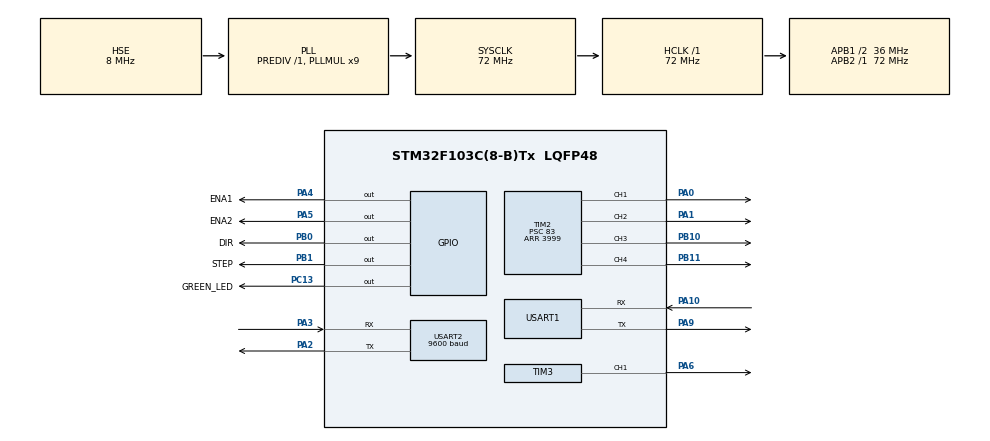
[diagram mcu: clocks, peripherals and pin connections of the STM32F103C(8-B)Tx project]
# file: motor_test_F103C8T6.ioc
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FREERTOS.Tasks01=defaultTask,0,128,StartDefaultTask,Default,NULL,Dynamic,NULL,NULL
FREERTOS.configUSE_NEWLIB_REENTRANT=1
Mcu.Family=STM32F1
Mcu.Name=STM32F103C(8-B)Tx
Mcu.Package=LQFP48
NVIC.PriorityGroup=NVIC_PRIORITYGROUP_4
NVIC.TIM1_UP_IRQn=true\:15\:0\:false\:false\:true\:false\:false\:true\:true
NVIC.TimeBase=TIM1_UP_IRQn
NVIC.TimeBaseIP=TIM1
NVIC.USART2_IRQn=true\:6\:0\:true\:false\:true\:true\:true\:true\:true
PA0-WKUP.Signal=S_TIM2_CH1_ETR
PA1.Signal=S_TIM2_CH2
PA10.Mode=Asynchronous
PA10.Signal=USART1_RX
PA13.Mode=Serial_Wire
PA13.Signal=SYS_JTMS-SWDIO
PA14.Mode=Serial_Wire
PA14.Signal=SYS_JTCK-SWCLK
PA2.Mode=Asynchronous
PA2.Signal=USART2_TX
PA3.Mode=Asynchronous
PA3.Signal=USART2_RX
PA4.GPIO_Label=ENA1
PA4.Signal=GPIO_Output
PA5.GPIO_Label=ENA2
PA5.Signal=GPIO_Output
PA6.Signal=S_TIM3_CH1
PA9.Mode=Asynchronous
PA9.Signal=USART1_TX
PB0.GPIO_Label=DIR
PB0.Signal=GPIO_Output
PB1.GPIO_Label=STEP
PB1.Signal=GPIO_Output
PB10.Signal=S_TIM2_CH3
PB11.Signal=S_TIM2_CH4
PC13-TAMPER-RTC.GPIO_Label=GREEN_LED
PC13-TAMPER-RTC.Signal=GPIO_Output
PD0-OSC_IN.Mode=HSE-External-Oscillator
PD0-OSC_IN.Signal=RCC_OSC_IN
PD1-OSC_OUT.Mode=HSE-External-Oscillator
PD1-OSC_OUT.Signal=RCC_OSC_OUT
ProjectManager.HeapSize=0x200
ProjectManager.StackSize=0x400
ProjectManager.TargetToolchain=STM32CubeIDE
RCC.AHBFreq_Value=72000000
RCC.APB1CLKDivider=RCC_HCLK_DIV2
RCC.APB1Freq_Value=36000000
RCC.APB1TimFreq_Value=72000000
RCC.APB2Freq_Value=72000000
RCC.APB2TimFreq_Value=72000000
RCC.HCLKFreq_Value=72000000
RCC.PLLMUL=RCC_PLL_MUL9
RCC.PLLSourceVirtual=RCC_PLLSOURCE_HSE
RCC.SYSCLKFreq_VALUE=72000000
RCC.SYSCLKSource=RCC_SYSCLKSOURCE_PLLCLK
RCC.USBFreq_Value=72000000
SH.S_TIM2_CH1_ETR.0=TIM2_CH1,PWM Generation1 CH1
SH.S_TIM2_CH2.0=TIM2_CH2,PWM Generation2 CH2
SH.S_TIM2_CH3.0=TIM2_CH3,PWM Generation3 CH3
SH.S_TIM2_CH4.0=TIM2_CH4,PWM Generation4 CH4
SH.S_TIM3_CH1.0=TIM3_CH1,PWM Generation1 CH1
TIM2.Channel-PWM\ Generation1\ CH1=TIM_CHANNEL_1
TIM2.Channel-PWM\ Generation2\ CH2=TIM_CHANNEL_2
TIM2.Channel-PWM\ Generation3\ CH3=TIM_CHANNEL_3
TIM2.Channel-PWM\ Generation4\ CH4=TIM_CHANNEL_4
TIM2.Period=3999
TIM2.Prescaler=83
TIM3.Channel-PWM\ Generation1\ CH1=TIM_CHANNEL_1
TIM3.Period=9999
TIM3.Prescaler=143
TIM4.Prescaler=71
USART1.VirtualMode=VM_ASYNC
USART2.BaudRate=9600
USART2.VirtualMode=VM_ASYNC
VP_FREERTOS_VS_CMSIS_V1.Mode=CMSIS_V1
VP_SYS_VS_tim1.Mode=TIM1
VP_TIM2_VS_ClockSourceINT.Mode=Internal
VP_TIM3_VS_ClockSourceINT.Mode=Internal
VP_TIM4_VS_ClockSourceINT.Mode=Internal
board=custom

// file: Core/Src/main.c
/* USER CODE BEGIN Header */
/**
  ******************************************************************************
  * @file           : main.c
  * @brief          : Main program body
  ******************************************************************************
  * @attention
  *
  * Copyright (c) 2023 STMicroelectronics.
  * All rights reserved.
  *
  * This software is licensed under terms that can be found in the LICENSE file
  * in the root directory of this software component.
  * If no LICENSE file comes with this software, it is provided AS-IS.
  *
  ******************************************************************************
  */
/* USER CODE END Header */
#include "main.h"

/* USER CODE BEGIN Includes */
#include <stdio.h>
#include <string.h>
#include "FreeRTOS.h"
/* USER CODE END Includes */

TIM_HandleTypeDef htim2;
TIM_HandleTypeDef htim3;
TIM_HandleTypeDef htim4;

UART_HandleTypeDef huart1;
UART_HandleTypeDef huart2;

/* USER CODE BEGIN PV */
char message[50];
uint8_t rxData = 0;
int dc_pulse = 0;
int servo_pulse = 0;
int pulse = 0;
int stepDelay = 1000;
/* USER CODE END PV */

void SystemClock_Config(void);
static void MX_GPIO_Init(void);
static void MX_TIM2_Init(void);
static void MX_TIM3_Init(void);
static void MX_USART1_UART_Init(void);
static void MX_USART2_UART_Init(void);
static void MX_TIM4_Init(void);
void StartDefaultTask(void const * argument);

/* USER CODE BEGIN 0 */
void LED_Task(void* pvParameter);
void Motion_Task(void* pvParameter);
void Platform_Rotation_Task(void* pvParameter);
void Trigger_Task(void* pvParameter);

void microDelay(uint16_t delay){
	__HAL_TIM_SET_COUNTER(&htim4, 0);
	while(__HAL_TIM_GET_COUNTER(&htim4) < delay);
}

void step(int steps, uint8_t direction, uint16_t delay){
	int x;
	if(direction == 0){
		HAL_GPIO_WritePin(DIR_GPIO_Port, DIR_Pin, GPIO_PIN_SET);
	}else
		HAL_GPIO_WritePin(DIR_GPIO_Port, DIR_Pin, GPIO_PIN_RESET);
	for(int i = 0;i < steps; i++){
		HAL_GPIO_WritePin(STEP_GPIO_Port, STEP_Pin, GPIO_PIN_SET);
		microDelay(delay);
		HAL_GPIO_WritePin(STEP_GPIO_Port, STEP_Pin, GPIO_PIN_RESET);
		microDelay(delay);
	}
}

void HAL_UART_RxCpltCallback(UART_HandleTypeDef *huart){
	if(huart->Instance == USART2){
		rxData = huart->Instance->DR;

		HAL_UART_Receive_IT(huart, &rxData, 1);
		sprintf((uint8_t*)message, "UART2 Interrupt\r\n", rxData);
		HAL_UART_Transmit(&huart1, (uint8_t*)message, strlen(message), 0xffff);
		memset(message, 0, sizeof(message));
	}
}

void LED_Task(void* pvParameter){
	while(1){
		HAL_GPIO_WritePin(GREEN_LED_GPIO_Port, GREEN_LED_Pin, GPIO_PIN_RESET);
		vTaskDelay(1000);
		HAL_GPIO_WritePin(GREEN_LED_GPIO_Port, GREEN_LED_Pin, GPIO_PIN_SET);
		vTaskDelay(1000);
	}
}

void Motion_Task(void* pvParameter){
	char* motion_message = pvPortMalloc(50*sizeof(char));
	sprintf((char*)motion_message,"Motion_Task initialize ..\r\n");
	HAL_UART_Transmit(&huart1, (uint8_t*)motion_message, strlen(motion_message), 0xffff);
	vPortFree(motion_message);
	while(1){
		if(rxData == 'U'){
			HAL_GPIO_WritePin(GREEN_LED_GPIO_Port, GREEN_LED_Pin, GPIO_PIN_RESET);
			motion_message = pvPortMalloc(50*sizeof(char));
			sprintf((char*)motion_message, "Word(%c): Up !\r\n", rxData);
			HAL_UART_Transmit(&huart1, (uint8_t*)motion_message, strlen(motion_message), 0xffff);
			vPortFree(motion_message);

			HAL_GPIO_WritePin(ENA1_GPIO_Port, ENA1_Pin, GPIO_PIN_SET);
			HAL_GPIO_WritePin(ENA2_GPIO_Port, ENA2_Pin, GPIO_PIN_SET);

			__HAL_TIM_SET_COMPARE(&htim2, TIM_CHANNEL_1, pulse);
			__HAL_TIM_SET_COMPARE(&htim2, TIM_CHANNEL_2, 0);

			__HAL_TIM_SET_COMPARE(&htim2, TIM_CHANNEL_3, pulse);
			__HAL_TIM_SET_COMPARE(&htim2, TIM_CHANNEL_4, 0);

			rxData = 0;
		}
		else if(rxData == 'D'){
			HAL_GPIO_WritePin(GREEN_LED_GPIO_Port, GREEN_LED_Pin, GPIO_PIN_RESET);
			motion_message = pvPortMalloc(50*sizeof(char));
			sprintf((char*)motion_message, "Word(%c): Down !\r\n", rxData);
			HAL_UART_Transmit(&huart1, (uint8_t*)motion_message, strlen(motion_message), 0xffff);
			vPortFree(motion_message);

			HAL_GPIO_WritePin(ENA1_GPIO_Port, ENA1_Pin, GPIO_PIN_SET);
			HAL_GPIO_WritePin(ENA2_GPIO_Port, ENA2_Pin, GPIO_PIN_SET);

			__HAL_TIM_SET_COMPARE(&htim2, TIM_CHANNEL_1, 0);
			__HAL_TIM_SET_COMPARE(&htim2, TIM_CHANNEL_2, pulse);

			__HAL_TIM_SET_COMPARE(&htim2, TIM_CHANNEL_3, 0);
			__HAL_TIM_SET_COMPARE(&htim2, TIM_CHANNEL_4, pulse);

			rxData = 0;
		}
		else if(rxData == 'L'){
			HAL_GPIO_WritePin(GREEN_LED_GPIO_Port, GREEN_LED_Pin, GPIO_PIN_RESET);
			motion_message = pvPortMalloc(50*sizeof(char));
			sprintf((char*)motion_message, "Word(%c): Left !\r\n", rxData);
			HAL_UART_Transmit(&huart1, (uint8_t*)motion_message, strlen(motion_message), 0xffff);
			vPortFree(motion_message);

			HAL_GPIO_WritePin(ENA1_GPIO_Port, ENA1_Pin, GPIO_PIN_SET);
			HAL_GPIO_WritePin(ENA2_GPIO_Port, ENA2_Pin, GPIO_PIN_SET);

			__HAL_TIM_SET_COMPARE(&htim2, TIM_CHANNEL_1, pulse);
			__HAL_TIM_SET_COMPARE(&htim2, TIM_CHANNEL_2, 0);

			__HAL_TIM_SET_COMPARE(&htim2, TIM_CHANNEL_3, 0);
			__HAL_TIM_SET_COMPARE(&htim2, TIM_CHANNEL_4, pulse);

			rxData = 0;
		}
		else if(rxData == 'R'){
			HAL_GPIO_WritePin(GREEN_LED_GPIO_Port, GREEN_LED_Pin, GPIO_PIN_RESET);
			motion_message = pvPortMalloc(50*sizeof(char));
			sprintf((char*)motion_message, "Word(%c): Right !\r\n", rxData);
			HAL_UART_Transmit(&huart1, (uint8_t*)motion_message, strlen(motion_message), 0xffff);
			vPortFree(motion_message);

			HAL_GPIO_WritePin(ENA1_GPIO_Port, ENA1_Pin, GPIO_PIN_SET);
			HAL_GPIO_WritePin(ENA2_GPIO_Port, ENA2_Pin, GPIO_PIN_SET);

			__HAL_TIM_SET_COMPARE(&htim2, TIM_CHANNEL_1, 0);
			__HAL_TIM_SET_COMPARE(&htim2, TIM_CHANNEL_2, pulse);

			__HAL_TIM_SET_COMPARE(&htim2, TIM_CHANNEL_3, pulse);
			__HAL_TIM_SET_COMPARE(&htim2, TIM_CHANNEL_4, 0);

			rxData = 0;
		}
		else if(rxData == 'A'){
			HAL_GPIO_WritePin(GREEN_LED_GPIO_Port, GREEN_LED_Pin, GPIO_PIN_RESET);
			motion_message = pvPortMalloc(50*sizeof(char));
			sprintf((char*)motion_message, "Word(%c): High speed !\r\n", rxData);
			HAL_UART_Transmit(&huart1, (uint8_t*)motion_message, strlen(motion_message), 0xffff);
			vPortFree(motion_message);

			pulse = 3200;

			rxData = 0;
		}
		else if(rxData == 'Z'){
			HAL_GPIO_WritePin(GREEN_LED_GPIO_Port, GREEN_LED_Pin, GPIO_PIN_RESET);
			motion_message = pvPortMalloc(50*sizeof(char));
			sprintf((char*)motion_message, "Word(%c): Low speed !\r\n", rxData);
			HAL_UART_Transmit(&huart1, (uint8_t*)motion_message, strlen(motion_message), 0xffff);
			vPortFree(motion_message);

			pulse = 1500;

			rxData = 0;
		}
		else if(rxData == '0'){
			HAL_GPIO_WritePin(GREEN_LED_GPIO_Port, GREEN_LED_Pin, GPIO_PIN_RESET);
			motion_message = pvPortMalloc(50*sizeof(char));
			sprintf((char*)motion_message, "Word(%c): 0 !\r\n", rxData);
			HAL_UART_Transmit(&huart1, (uint8_t*)motion_message, strlen(motion_message), 0xffff);
			vPortFree(motion_message);

			HAL_GPIO_WritePin(ENA1_GPIO_Port, ENA1_Pin, GPIO_PIN_RESET);
			HAL_GPIO_WritePin(ENA2_GPIO_Port, ENA2_Pin, GPIO_PIN_RESET);

			__HAL_TIM_SET_COMPARE(&htim2, TIM_CHANNEL_1, 0);
			__HAL_TIM_SET_COMPARE(&htim2, TIM_CHANNEL_2, 0);

			__HAL_TIM_SET_COMPARE(&htim2, TIM_CHANNEL_3, 0);
			__HAL_TIM_SET_COMPARE(&htim2, TIM_CHANNEL_4, 0);

			rxData = 0;
		}
		else if(rxData == 'o'){
			HAL_GPIO_WritePin(GREEN_LED_GPIO_Port, GREEN_LED_Pin, GPIO_PIN_RESET);
			motion_message = pvPortMalloc(50*sizeof(char));
			sprintf((char*)motion_message, "Word(%c): o !\r\n", rxData);
			HAL_UART_Transmit(&huart1, (uint8_t*)motion_message, strlen(motion_message), 0xffff);
			vPortFree(motion_message);
			rxData = 0;
		}
		HAL_UART_Receive_IT(&huart2, &rxData, 1);
		vTaskDelay(100);
		HAL_GPIO_WritePin(GREEN_LED_GPIO_Port, GREEN_LED_Pin, GPIO_PIN_SET);
	}

}

void Platform_Rotation_Task(void* pvParameter){
	char* stepper_message = pvPortMalloc(50*sizeof(char));
	sprintf((char*)stepper_message, "Platform_Rotation_Task initialize ..\r\n");
	HAL_UART_Transmit(&huart1, (uint8_t*)stepper_message, strlen(stepper_message), 0xffff);
	vPortFree(stepper_message);
	while(1){
		if(rxData == 'T'){
			HAL_GPIO_WritePin(GREEN_LED_GPIO_Port, GREEN_LED_Pin, GPIO_PIN_RESET);
			stepper_message = pvPortMalloc(50*sizeof(char));
			sprintf((char*)stepper_message, "Word(%c): Stepper Clockwise !\r\n", rxData);
			HAL_UART_Transmit(&huart1, (uint8_t*)stepper_message, strlen(stepper_message), 0xffff);
			vPortFree(stepper_message);
			step(200, 0, 500);

			rxData = 0;
		}
		else if(rxData == 'X'){
			HAL_GPIO_WritePin(GREEN_LED_GPIO_Port, GREEN_LED_Pin, GPIO_PIN_RESET);
			stepper_message = pvPortMalloc(50*sizeof(char));
			sprintf((char*)stepper_message, "Word(%c): Stepper Counterclockwise !\r\n", rxData);
			HAL_UART_Transmit(&huart1, (uint8_t*)stepper_message, strlen(stepper_message), 0xffff);
			vPortFree(stepper_message);
			step(200, 1, 500);

			rxData = 0;
		}
		HAL_UART_Receive_IT(&huart2, &rxData, 1);
		vTaskDelay(100);
	}
}

void Trigger_Task(void* pvParameter){
	char* servo_message = pvPortMalloc(50*sizeof(char));
	sprintf((char*)servo_message, "Trigger_Task initialize ..\r\n");
	HAL_UART_Transmit(&huart1, (uint8_t*)servo_message, strlen(servo_message), 0xffff);
	vPortFree(servo_message);
	int PWM = 0;
	while(1){
		if(rxData == 'Q'){
			HAL_GPIO_WritePin(GREEN_LED_GPIO_Port, GREEN_LED_Pin, GPIO_PIN_RESET);
			servo_message = pvPortMalloc(50*sizeof(char));
			sprintf((char*)servo_message, "Word(%c): Servo Clockwise !\r\n", rxData);
			HAL_UART_Transmit(&huart1, (uint8_t*)servo_message, strlen(servo_message), 0xffff);
			vPortFree(servo_message);
//			PWM ++;
			__HAL_TIM_SET_COMPARE(&htim3, TIM_CHANNEL_1, 200);
			rxData = 0;
		}
		else if(rxData == 'W'){
			HAL_GPIO_WritePin(GREEN_LED_GPIO_Port, GREEN_LED_Pin, GPIO_PIN_RESET);
			servo_message = pvPortMalloc(50*sizeof(char));
			sprintf((char*)servo_message, "Word(%c): Servo Counterclockwise !\r\n", rxData);
			HAL_UART_Transmit(&huart1, (uint8_t*)servo_message, strlen(servo_message), 0xffff);
			vPortFree(servo_message);
			__HAL_TIM_SET_COMPARE(&htim3, TIM_CHANNEL_1, 400);
			rxData = 0;
		}
		else if(rxData == 'M'){
			servo_message = pvPortMalloc(50*sizeof(char));
			sprintf((char*)servo_message, "Word(%c): M !\r\n", rxData);
			HAL_UART_Transmit(&huart1, (uint8_t*)servo_message, strlen(servo_message), 0xffff);
			vPortFree(servo_message);

//			PWM = 0;
			rxData = 0;
		}
		else if(rxData == 'N'){
			servo_message = pvPortMalloc(50*sizeof(char));
			sprintf((char*)servo_message, "Word(%c): N !\r\n", rxData);
			HAL_UART_Transmit(&huart1, (uint8_t*)servo_message, strlen(servo_message), 0xffff);
			vPortFree(servo_message);
			rxData = 0;
		}
		HAL_UART_Receive_IT(&huart2, &rxData, 1);
		vTaskDelay(100);
	}
}
/* USER CODE END 0 */

int main(void)
{

  /* MCU Configuration--------------------------------------------------------*/

  /* Reset of all peripherals, Initializes the Flash interface and the Systick. */
  HAL_Init();

  /* Configure the system clock */
  SystemClock_Config();

  /* Initialize all configured peripherals */
  MX_GPIO_Init();
  MX_TIM2_Init();
  MX_TIM3_Init();
  MX_USART1_UART_Init();
  MX_USART2_UART_Init();
  MX_TIM4_Init();
  /* USER CODE BEGIN 2 */
	sprintf(message,(uint8_t*)"System initialize ..\r\n");
	HAL_UART_Transmit(&huart1, (uint8_t*)message, strlen(message), 0xffff);
	memset((uint8_t*)message, 0, sizeof(message));

	HAL_TIM_Base_Start(&htim4);

	HAL_TIM_PWM_Start(&htim2, TIM_CHANNEL_1);
	HAL_TIM_PWM_Start(&htim2, TIM_CHANNEL_2);
	HAL_TIM_PWM_Start(&htim2, TIM_CHANNEL_3);
	HAL_TIM_PWM_Start(&htim2, TIM_CHANNEL_4);
	HAL_TIM_PWM_Start(&htim3, TIM_CHANNEL_1);

	__HAL_TIM_SET_COMPARE(&htim2, TIM_CHANNEL_1, dc_pulse);
	__HAL_TIM_SET_COMPARE(&htim2, TIM_CHANNEL_2, dc_pulse);
	__HAL_TIM_SET_COMPARE(&htim2, TIM_CHANNEL_3, dc_pulse);
	__HAL_TIM_SET_COMPARE(&htim2, TIM_CHANNEL_4, dc_pulse);
	__HAL_TIM_SET_COMPARE(&htim3, TIM_CHANNEL_1, servo_pulse);

	HAL_GPIO_WritePin(ENA1_GPIO_Port, ENA1_Pin, GPIO_PIN_RESET);
	HAL_GPIO_WritePin(ENA2_GPIO_Port, ENA2_Pin, GPIO_PIN_RESET);

	sprintf(message,"Motor control pins initialize ..\r\n");
	HAL_UART_Transmit(&huart1, (uint8_t*)message, strlen(message), 0xffff);
	memset(message, 0, sizeof(message));

	xTaskCreate(LED_Task, "LED", 50, NULL, 1, NULL);
	xTaskCreate(Motion_Task, "MOTION", 128, NULL, 1, NULL);
	xTaskCreate(Platform_Rotation_Task, "PLATFORM", 128, NULL, 1, NULL);
	xTaskCreate(Trigger_Task, "TRIGGER", 128, NULL, 1, NULL);
	vTaskStartScheduler();
  /* USER CODE END 2 */

  /* Create the thread(s) */
  /* definition and creation of defaultTask */

  /* We should never get here as control is now taken by the scheduler */
  /* Infinite loop */
  while (1)
  {

  }
}

void SystemClock_Config(void)
{
  RCC_OscInitTypeDef RCC_OscInitStruct = {0};
  RCC_ClkInitTypeDef RCC_ClkInitStruct = {0};

  /** Initializes the RCC Oscillators according to the specified parameters
  * in the RCC_OscInitTypeDef structure.
  */
  RCC_OscInitStruct.OscillatorType = RCC_OSCILLATORTYPE_HSE;
  RCC_OscInitStruct.HSEState = RCC_HSE_ON;
  RCC_OscInitStruct.HSEPredivValue = RCC_HSE_PREDIV_DIV1;
  RCC_OscInitStruct.HSIState = RCC_HSI_ON;
  RCC_OscInitStruct.PLL.PLLState = RCC_PLL_ON;
  RCC_OscInitStruct.PLL.PLLSource = RCC_PLLSOURCE_HSE;
  RCC_OscInitStruct.PLL.PLLMUL = RCC_PLL_MUL9;
  if (HAL_RCC_OscConfig(&RCC_OscInitStruct) != HAL_OK)
  {
    Error_Handler();
  }

  /** Initializes the CPU, AHB and APB buses clocks
  */
  RCC_ClkInitStruct.ClockType = RCC_CLOCKTYPE_HCLK|RCC_CLOCKTYPE_SYSCLK
                              |RCC_CLOCKTYPE_PCLK1|RCC_CLOCKTYPE_PCLK2;
  RCC_ClkInitStruct.SYSCLKSource = RCC_SYSCLKSOURCE_PLLCLK;
  RCC_ClkInitStruct.AHBCLKDivider = RCC_SYSCLK_DIV1;
  RCC_ClkInitStruct.APB1CLKDivider = RCC_HCLK_DIV2;
  RCC_ClkInitStruct.APB2CLKDivider = RCC_HCLK_DIV1;

  if (HAL_RCC_ClockConfig(&RCC_ClkInitStruct, FLASH_LATENCY_2) != HAL_OK)
  {
    Error_Handler();
  }
}

static void MX_TIM2_Init(void)
{

  TIM_ClockConfigTypeDef sClockSourceConfig = {0};
  TIM_MasterConfigTypeDef sMasterConfig = {0};
  TIM_OC_InitTypeDef sConfigOC = {0};

  htim2.Instance = TIM2;
  htim2.Init.Prescaler = 83;
  htim2.Init.CounterMode = TIM_COUNTERMODE_UP;
  htim2.Init.Period = 3999;
  htim2.Init.ClockDivision = TIM_CLOCKDIVISION_DIV1;
  htim2.Init.AutoReloadPreload = TIM_AUTORELOAD_PRELOAD_DISABLE;
  if (HAL_TIM_Base_Init(&htim2) != HAL_OK)
  {
    Error_Handler();
  }
  sClockSourceConfig.ClockSource = TIM_CLOCKSOURCE_INTERNAL;
  if (HAL_TIM_ConfigClockSource(&htim2, &sClockSourceConfig) != HAL_OK)
  {
    Error_Handler();
  }
  if (HAL_TIM_PWM_Init(&htim2) != HAL_OK)
  {
    Error_Handler();
  }
  sMasterConfig.MasterOutputTrigger = TIM_TRGO_RESET;
  sMasterConfig.MasterSlaveMode = TIM_MASTERSLAVEMODE_DISABLE;
  if (HAL_TIMEx_MasterConfigSynchronization(&htim2, &sMasterConfig) != HAL_OK)
  {
    Error_Handler();
  }
  sConfigOC.OCMode = TIM_OCMODE_PWM1;
  sConfigOC.Pulse = 0;
  sConfigOC.OCPolarity = TIM_OCPOLARITY_HIGH;
  sConfigOC.OCFastMode = TIM_OCFAST_DISABLE;
  if (HAL_TIM_PWM_ConfigChannel(&htim2, &sConfigOC, TIM_CHANNEL_1) != HAL_OK)
  {
    Error_Handler();
  }
  if (HAL_TIM_PWM_ConfigChannel(&htim2, &sConfigOC, TIM_CHANNEL_2) != HAL_OK)
  {
    Error_Handler();
  }
  if (HAL_TIM_PWM_ConfigChannel(&htim2, &sConfigOC, TIM_CHANNEL_3) != HAL_OK)
  {
    Error_Handler();
  }
  if (HAL_TIM_PWM_ConfigChannel(&htim2, &sConfigOC, TIM_CHANNEL_4) != HAL_OK)
  {
    Error_Handler();
  }
  HAL_TIM_MspPostInit(&htim2);

}

static void MX_TIM3_Init(void)
{

  TIM_ClockConfigTypeDef sClockSourceConfig = {0};
  TIM_MasterConfigTypeDef sMasterConfig = {0};
  TIM_OC_InitTypeDef sConfigOC = {0};

  htim3.Instance = TIM3;
  htim3.Init.Prescaler = 143;
  htim3.Init.CounterMode = TIM_COUNTERMODE_UP;
  htim3.Init.Period = 9999;
  htim3.Init.ClockDivision = TIM_CLOCKDIVISION_DIV1;
  htim3.Init.AutoReloadPreload = TIM_AUTORELOAD_PRELOAD_DISABLE;
  if (HAL_TIM_Base_Init(&htim3) != HAL_OK)
  {
    Error_Handler();
  }
  sClockSourceConfig.ClockSource = TIM_CLOCKSOURCE_INTERNAL;
  if (HAL_TIM_ConfigClockSource(&htim3, &sClockSourceConfig) != HAL_OK)
  {
    Error_Handler();
  }
  if (HAL_TIM_PWM_Init(&htim3) != HAL_OK)
  {
    Error_Handler();
  }
  sMasterConfig.MasterOutputTrigger = TIM_TRGO_RESET;
  sMasterConfig.MasterSlaveMode = TIM_MASTERSLAVEMODE_DISABLE;
  if (HAL_TIMEx_MasterConfigSynchronization(&htim3, &sMasterConfig) != HAL_OK)
  {
    Error_Handler();
  }
  sConfigOC.OCMode = TIM_OCMODE_PWM1;
  sConfigOC.Pulse = 0;
  sConfigOC.OCPolarity = TIM_OCPOLARITY_HIGH;
  sConfigOC.OCFastMode = TIM_OCFAST_DISABLE;
  if (HAL_TIM_PWM_ConfigChannel(&htim3, &sConfigOC, TIM_CHANNEL_1) != HAL_OK)
  {
    Error_Handler();
  }
  HAL_TIM_MspPostInit(&htim3);

}

static void MX_TIM4_Init(void)
{

  TIM_ClockConfigTypeDef sClockSourceConfig = {0};
  TIM_MasterConfigTypeDef sMasterConfig = {0};

  htim4.Instance = TIM4;
  htim4.Init.Prescaler = 71;
  htim4.Init.CounterMode = TIM_COUNTERMODE_UP;
  htim4.Init.Period = 65535;
  htim4.Init.ClockDivision = TIM_CLOCKDIVISION_DIV1;
  htim4.Init.AutoReloadPreload = TIM_AUTORELOAD_PRELOAD_DISABLE;
  if (HAL_TIM_Base_Init(&htim4) != HAL_OK)
  {
    Error_Handler();
  }
  sClockSourceConfig.ClockSource = TIM_CLOCKSOURCE_INTERNAL;
  if (HAL_TIM_ConfigClockSource(&htim4, &sClockSourceConfig) != HAL_OK)
  {
    Error_Handler();
  }
  sMasterConfig.MasterOutputTrigger = TIM_TRGO_RESET;
  sMasterConfig.MasterSlaveMode = TIM_MASTERSLAVEMODE_DISABLE;
  if (HAL_TIMEx_MasterConfigSynchronization(&htim4, &sMasterConfig) != HAL_OK)
  {
    Error_Handler();
  }

}

static void MX_USART1_UART_Init(void)
{

  huart1.Instance = USART1;
  huart1.Init.BaudRate = 115200;
  huart1.Init.WordLength = UART_WORDLENGTH_8B;
  huart1.Init.StopBits = UART_STOPBITS_1;
  huart1.Init.Parity = UART_PARITY_NONE;
  huart1.Init.Mode = UART_MODE_TX_RX;
  huart1.Init.HwFlowCtl = UART_HWCONTROL_NONE;
  huart1.Init.OverSampling = UART_OVERSAMPLING_16;
  if (HAL_UART_Init(&huart1) != HAL_OK)
  {
    Error_Handler();
  }

}

static void MX_USART2_UART_Init(void)
{

  huart2.Instance = USART2;
  huart2.Init.BaudRate = 9600;
  huart2.Init.WordLength = UART_WORDLENGTH_8B;
  huart2.Init.StopBits = UART_STOPBITS_1;
  huart2.Init.Parity = UART_PARITY_NONE;
  huart2.Init.Mode = UART_MODE_TX_RX;
  huart2.Init.HwFlowCtl = UART_HWCONTROL_NONE;
  huart2.Init.OverSampling = UART_OVERSAMPLING_16;
  if (HAL_UART_Init(&huart2) != HAL_OK)
  {
    Error_Handler();
  }

}

static void MX_GPIO_Init(void)
{
  GPIO_InitTypeDef GPIO_InitStruct = {0};

  /* GPIO Ports Clock Enable */
  __HAL_RCC_GPIOC_CLK_ENABLE();
  __HAL_RCC_GPIOD_CLK_ENABLE();
  __HAL_RCC_GPIOA_CLK_ENABLE();
  __HAL_RCC_GPIOB_CLK_ENABLE();

  /*Configure GPIO pin Output Level */
  HAL_GPIO_WritePin(GREEN_LED_GPIO_Port, GREEN_LED_Pin, GPIO_PIN_RESET);

  /*Configure GPIO pin Output Level */
  HAL_GPIO_WritePin(GPIOA, ENA1_Pin|ENA2_Pin, GPIO_PIN_RESET);

  /*Configure GPIO pin Output Level */
  HAL_GPIO_WritePin(GPIOB, DIR_Pin|STEP_Pin, GPIO_PIN_RESET);

  /*Configure GPIO pin : GREEN_LED_Pin */
  GPIO_InitStruct.Pin = GREEN_LED_Pin;
  GPIO_InitStruct.Mode = GPIO_MODE_OUTPUT_PP;
  GPIO_InitStruct.Pull = GPIO_NOPULL;
  GPIO_InitStruct.Speed = GPIO_SPEED_FREQ_LOW;
  HAL_GPIO_Init(GREEN_LED_GPIO_Port, &GPIO_InitStruct);

  /*Configure GPIO pins : ENA1_Pin ENA2_Pin */
  GPIO_InitStruct.Pin = ENA1_Pin|ENA2_Pin;
  GPIO_InitStruct.Mode = GPIO_MODE_OUTPUT_PP;
  GPIO_InitStruct.Pull = GPIO_NOPULL;
  GPIO_InitStruct.Speed = GPIO_SPEED_FREQ_LOW;
  HAL_GPIO_Init(GPIOA, &GPIO_InitStruct);

  /*Configure GPIO pins : DIR_Pin STEP_Pin */
  GPIO_InitStruct.Pin = DIR_Pin|STEP_Pin;
  GPIO_InitStruct.Mode = GPIO_MODE_OUTPUT_PP;
  GPIO_InitStruct.Pull = GPIO_NOPULL;
  GPIO_InitStruct.Speed = GPIO_SPEED_FREQ_LOW;
  HAL_GPIO_Init(GPIOB, &GPIO_InitStruct);

}

void StartDefaultTask(void const * argument)
{
  for(;;)
  {
    osDelay(1);
  }
}

void HAL_TIM_PeriodElapsedCallback(TIM_HandleTypeDef *htim)
{
  if (htim->Instance == TIM1) {
    HAL_IncTick();
  }
}

void Error_Handler(void)
{
  __disable_irq();
  while (1)
  {
  }
}
